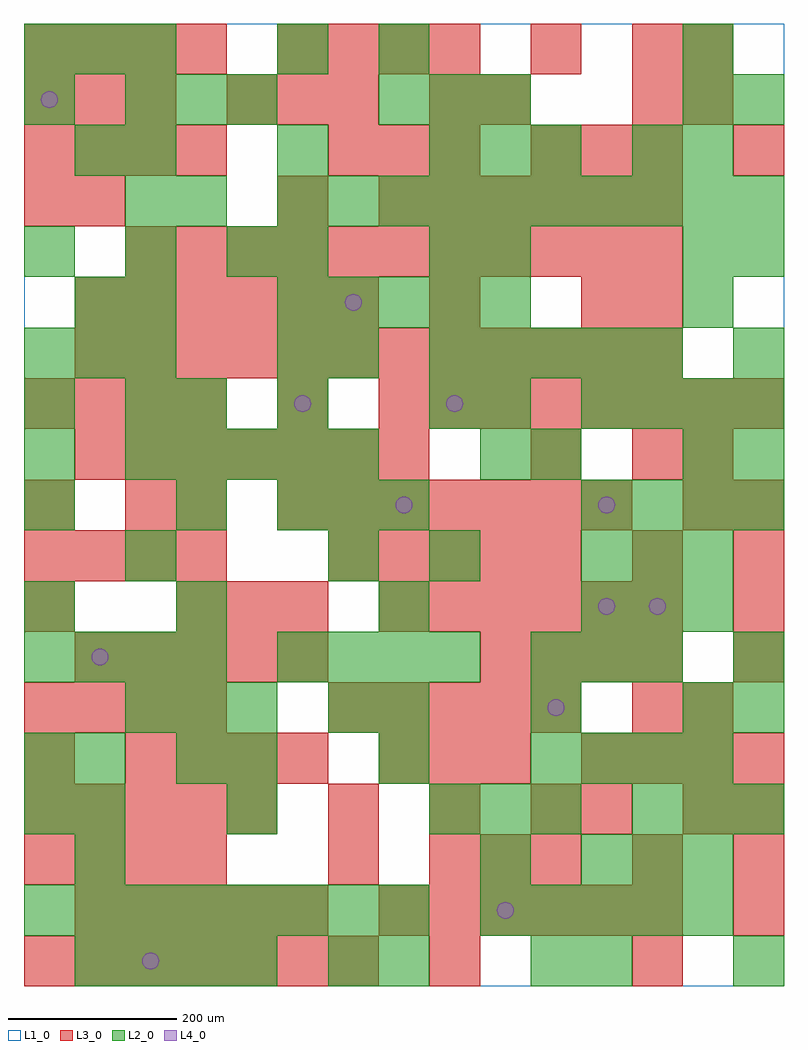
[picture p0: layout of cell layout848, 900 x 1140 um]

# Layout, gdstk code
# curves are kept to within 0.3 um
import gdstk
lib = gdstk.Library(unit=1e-6, precision=1e-09)
def R(c, l, rs):  # rectangles x0, y0, x1, y1
    for r in rs: c.add(gdstk.rectangle(r[:2], r[2:], *l))
def A(c, l, x, y, w, h, nx, ny, dx, dy):  # array of equal rectangles
    R(c, l, [(x+i*dx, y+j*dy, x+i*dx+w, y+j*dy+h) for i in range(nx) for j in range(ny)])
def P(c, l, *ps):  # polygons
    for p in ps: c.add(gdstk.Polygon(p, *l))
L1_0 = (1, 0)
L2_0 = (2, 0)
L3_0 = (3, 0)
L4_0 = (4, 0)

layout848 = lib.new_cell('layout848')
R(layout848, L1_0, [(0,0,900,1140)])
A(layout848, L2_0, 60, 0, 60, 60, 4, 1, 60, 0)
A(layout848, L2_0, 0, 60, 60, 60, 8, 1, 60, 0)
A(layout848, L2_0, 540, 60, 60, 60, 5, 1, 60, 0)
A(layout848, L2_0, 60, 120, 60, 60, 1, 3, 0, 60)
A(layout848, L2_0, 660, 120, 60, 60, 3, 2, 60, 120)
A(layout848, L2_0, 480, 180, 60, 60, 3, 1, 60, 0)
A(layout848, L2_0, 720, 180, 60, 60, 3, 1, 60, 0)
A(layout848, L2_0, 240, 240, 60, 60, 3, 1, 180, 0)
A(layout848, L2_0, 120, 300, 60, 60, 3, 2, 60, 720)
A(layout848, L2_0, 420, 300, 60, 60, 3, 1, 180, 0)
A(layout848, L2_0, 0, 360, 60, 60, 4, 1, 60, 0)
A(layout848, L2_0, 300, 360, 60, 60, 4, 1, 60, 0)
A(layout848, L2_0, 600, 360, 60, 60, 3, 1, 60, 0)
A(layout848, L2_0, 180, 420, 60, 60, 3, 1, 240, 0)
A(layout848, L2_0, 780, 420, 60, 60, 1, 3, 0, 180)
A(layout848, L2_0, 480, 480, 60, 60, 1, 3, 0, 180)
A(layout848, L2_0, 660, 480, 60, 60, 3, 1, 60, 0)
A(layout848, L2_0, 0, 540, 60, 60, 1, 3, 0, 60)
A(layout848, L2_0, 300, 540, 60, 60, 3, 1, 60, 0)
A(layout848, L2_0, 660, 540, 60, 60, 4, 2, 60, 120)
A(layout848, L2_0, 120, 600, 60, 60, 5, 1, 60, 0)
A(layout848, L2_0, 840, 600, 60, 60, 1, 3, 0, 120)
A(layout848, L2_0, 120, 660, 60, 60, 1, 3, 0, 120)
A(layout848, L2_0, 0, 720, 60, 60, 3, 2, 60, 360)
A(layout848, L2_0, 480, 720, 60, 60, 5, 1, 60, 0)
A(layout848, L2_0, 300, 780, 60, 60, 5, 1, 60, 0)
A(layout848, L2_0, 0, 840, 60, 60, 3, 1, 120, 0)
A(layout848, L2_0, 300, 900, 60, 60, 10, 1, 60, 0)
A(layout848, L2_0, 120, 960, 60, 60, 3, 1, 180, 0)
A(layout848, L2_0, 780, 960, 60, 60, 1, 3, 0, 60)
A(layout848, L2_0, 420, 1020, 60, 60, 3, 1, 60, 0)
R(layout848, L2_0, [(360,0,420,60), (420,0,480,60), (600,0,660,60), (660,0,720,60), (840,0,900,60), (540,120,600,180), (0,180,60,240), (240,180,300,240), (0,240,60,300), (180,240,240,300), (360,300,420,360), (840,300,900,360), (840,360,900,420), (0,420,60,480), (720,420,780,480), (120,480,180,540), (360,480,420,540), (180,540,240,600), (540,600,600,660), (600,600,660,660), (180,660,240,720), (300,660,360,720), (540,660,600,720), (300,720,360,780), (360,720,420,780), (60,780,120,840), (300,840,360,900), (540,840,600,900), (780,840,840,900), (180,900,240,960), (60,960,120,1020), (540,960,600,1020), (600,960,660,1020), (720,960,780,1020), (0,1020,60,1080), (840,1020,900,1080), (300,1080,360,1140), (420,1080,480,1140)])
A(layout848, L3_0, 0, 0, 60, 60, 7, 1, 60, 0)
A(layout848, L3_0, 60, 60, 60, 60, 5, 2, 60, 300)
A(layout848, L3_0, 420, 60, 60, 60, 6, 2, 60, 360)
A(layout848, L3_0, 840, 60, 60, 60, 1, 3, 0, 60)
A(layout848, L3_0, 0, 120, 60, 60, 4, 4, 60, 180)
A(layout848, L3_0, 480, 120, 60, 60, 3, 1, 60, 0)
A(layout848, L3_0, 720, 120, 60, 60, 1, 3, 0, 180)
A(layout848, L3_0, 0, 180, 60, 60, 5, 1, 60, 0)
A(layout848, L3_0, 360, 180, 60, 60, 3, 1, 120, 0)
A(layout848, L3_0, 120, 240, 60, 60, 4, 1, 60, 0)
A(layout848, L3_0, 420, 240, 60, 60, 3, 1, 60, 0)
A(layout848, L3_0, 660, 240, 60, 60, 4, 1, 60, 0)
A(layout848, L3_0, 360, 300, 60, 60, 5, 2, 60, 180)
A(layout848, L3_0, 540, 360, 60, 60, 4, 1, 60, 0)
A(layout848, L3_0, 840, 360, 60, 60, 1, 4, 0, 60)
A(layout848, L3_0, 180, 420, 60, 60, 3, 1, 60, 0)
A(layout848, L3_0, 300, 540, 60, 60, 7, 1, 60, 0)
A(layout848, L3_0, 60, 600, 60, 60, 7, 1, 60, 0)
A(layout848, L3_0, 420, 660, 60, 60, 8, 1, 60, 0)
A(layout848, L3_0, 60, 720, 60, 60, 12, 1, 60, 0)
A(layout848, L3_0, 60, 780, 60, 60, 6, 1, 60, 0)
A(layout848, L3_0, 120, 840, 60, 60, 11, 1, 60, 0)
A(layout848, L3_0, 420, 900, 60, 60, 6, 1, 60, 0)
A(layout848, L3_0, 0, 960, 60, 60, 4, 2, 60, 120)
A(layout848, L3_0, 360, 960, 60, 60, 3, 1, 60, 0)
A(layout848, L3_0, 600, 960, 60, 60, 3, 1, 60, 0)
A(layout848, L3_0, 0, 1020, 60, 60, 3, 1, 60, 0)
A(layout848, L3_0, 240, 1020, 60, 60, 3, 1, 60, 0)
A(layout848, L3_0, 300, 1080, 60, 60, 4, 1, 60, 0)
R(layout848, L3_0, [(480,0,540,60), (720,0,780,60), (360,120,420,180), (660,180,720,240), (780,180,840,240), (0,240,60,300), (780,300,840,360), (0,420,60,480), (0,540,60,600), (120,540,180,600), (180,540,240,600), (780,540,840,600), (600,600,660,660), (720,600,780,660), (780,600,840,660), (300,660,360,720), (480,780,540,840), (660,780,720,840), (720,780,780,840), (0,900,60,960), (60,900,120,960), (300,900,360,960), (840,960,900,1020), (480,1020,540,1080), (540,1020,600,1080), (720,1020,780,1080), (780,1020,840,1080), (600,1080,660,1140), (720,1080,780,1140), (780,1080,840,1140)])
P(layout848, L4_0, [(40,1050),(39.239,1053.827),(37.071,1057.071),(33.827,1059.239),(30,1060),(26.173,1059.239),(22.929,1057.071),(20.761,1053.827),(20,1050),(20.761,1046.173),(22.929,1042.929),(26.173,1040.761),(30,1040),(33.827,1040.761),(37.071,1042.929),(39.239,1046.173)],
  [(100,390),(99.239,393.827),(97.071,397.071),(93.827,399.239),(90,400),(86.173,399.239),(82.929,397.071),(80.761,393.827),(80,390),(80.761,386.173),(82.929,382.929),(86.173,380.761),(90,380),(93.827,380.761),(97.071,382.929),(99.239,386.173)],
  [(160,30),(159.239,33.827),(157.071,37.071),(153.827,39.239),(150,40),(146.173,39.239),(142.929,37.071),(140.761,33.827),(140,30),(140.761,26.173),(142.929,22.929),(146.173,20.761),(150,20),(153.827,20.761),(157.071,22.929),(159.239,26.173)],
  [(340,690),(339.239,693.827),(337.071,697.071),(333.827,699.239),(330,700),(326.173,699.239),(322.929,697.071),(320.761,693.827),(320,690),(320.761,686.173),(322.929,682.929),(326.173,680.761),(330,680),(333.827,680.761),(337.071,682.929),(339.239,686.173)],
  [(400,810),(399.239,813.827),(397.071,817.071),(393.827,819.239),(390,820),(386.173,819.239),(382.929,817.071),(380.761,813.827),(380,810),(380.761,806.173),(382.929,802.929),(386.173,800.761),(390,800),(393.827,800.761),(397.071,802.929),(399.239,806.173)],
  [(460,570),(459.239,573.827),(457.071,577.071),(453.827,579.239),(450,580),(446.173,579.239),(442.929,577.071),(440.761,573.827),(440,570),(440.761,566.173),(442.929,562.929),(446.173,560.761),(450,560),(453.827,560.761),(457.071,562.929),(459.239,566.173)],
  [(520,690),(519.239,693.827),(517.071,697.071),(513.827,699.239),(510,700),(506.173,699.239),(502.929,697.071),(500.761,693.827),(500,690),(500.761,686.173),(502.929,682.929),(506.173,680.761),(510,680),(513.827,680.761),(517.071,682.929),(519.239,686.173)],
  [(580,90),(579.239,93.827),(577.071,97.071),(573.827,99.239),(570,100),(566.173,99.239),(562.929,97.071),(560.761,93.827),(560,90),(560.761,86.173),(562.929,82.929),(566.173,80.761),(570,80),(573.827,80.761),(577.071,82.929),(579.239,86.173)],
  [(640,330),(639.239,333.827),(637.071,337.071),(633.827,339.239),(630,340),(626.173,339.239),(622.929,337.071),(620.761,333.827),(620,330),(620.761,326.173),(622.929,322.929),(626.173,320.761),(630,320),(633.827,320.761),(637.071,322.929),(639.239,326.173)],
  [(700,450),(699.239,453.827),(697.071,457.071),(693.827,459.239),(690,460),(686.173,459.239),(682.929,457.071),(680.761,453.827),(680,450),(680.761,446.173),(682.929,442.929),(686.173,440.761),(690,440),(693.827,440.761),(697.071,442.929),(699.239,446.173)],
  [(700,570),(699.239,573.827),(697.071,577.071),(693.827,579.239),(690,580),(686.173,579.239),(682.929,577.071),(680.761,573.827),(680,570),(680.761,566.173),(682.929,562.929),(686.173,560.761),(690,560),(693.827,560.761),(697.071,562.929),(699.239,566.173)],
  [(760,450),(759.239,453.827),(757.071,457.071),(753.827,459.239),(750,460),(746.173,459.239),(742.929,457.071),(740.761,453.827),(740,450),(740.761,446.173),(742.929,442.929),(746.173,440.761),(750,440),(753.827,440.761),(757.071,442.929),(759.239,446.173)])

lib.write_gds('layout848.gds')
